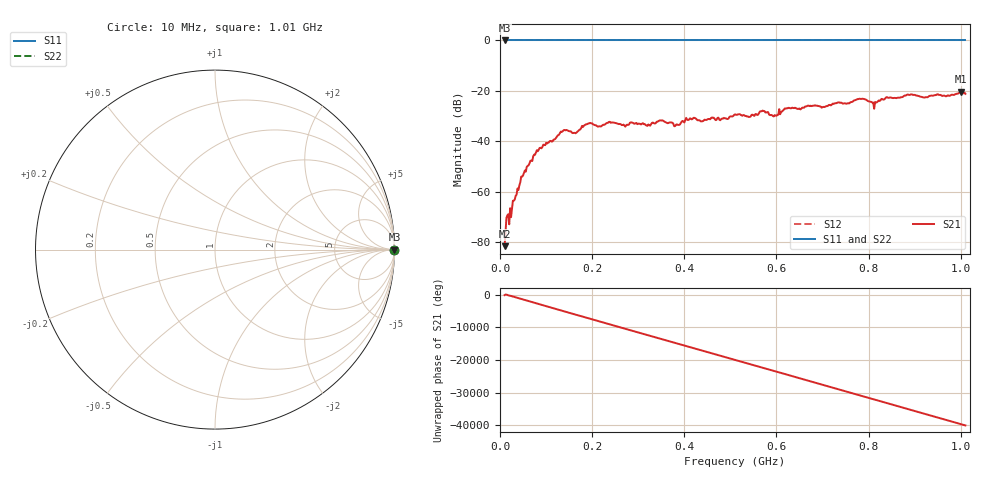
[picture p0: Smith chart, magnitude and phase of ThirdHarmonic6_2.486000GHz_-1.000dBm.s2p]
! 8/17/2025 4:40:27 AM
! C:\ANRITSUVNA\TEMP\TEMP.S2P
! CHANNEL.1
! TR.MEASUREMENT
! RAW.DATA
! RF.CORRECTION.OFF
! AVERAGING.OFF
! IF.BANDWIDTH: 5KHZ
! SWEEPTYPE:  FREQ.SWEEP(Linear)
! Reference Plane Port Info
! PORT:  PORT1  PORT2
! DISTANCE:  0  m  0  m
! TIME:  0  s  0  s
! PHASE.OFFSET:  0  deg.  0  deg.
! LOSS:  0  dB  0  dB
! REF.LOSS:  0  dB  0  dB
! REF.FREQ:  0  Hz  0  Hz
! Power Info
! POWER:  -20  dBm  -20  dBm
! EFF.POWER:  -20  dBm  -20  dBm
! SOURCE.ATTEN:  0  dB  0  dB
! TEST.ATTEN:  0  dB  0  dB
# GHZ S RI R 50.0
! FREQ.GHZ  S11RE  S11IM  S21RE  S21IM  S12RE  S12IM  S22RE  S22IM
!; PortSelection: Port_12
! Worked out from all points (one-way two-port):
!   501 points, 10 MHz to 1.01 GHz, reference 50 ohm
!   highest |S21| = -20.39 dB at 1 GHz (marker M1); lowest = -81.7 dB at 10 MHz (marker M2)
!   lowest |S11| = 0.0 dB at 10 MHz (marker M3)
!   |S11| at or under -10 dB: nowhere
!   |S22| runs from 0.0 to 0.0 dB; largest |S21 - S12| = 1.1
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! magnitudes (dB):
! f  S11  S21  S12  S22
! 10 MHz  0.0  -81.7  0.0  0.0
! 18 MHz  0.0  -69.0  0.0  0.0
! 22 MHz  0.0  -66.6  0.0  0.0
! 48 MHz  0.0  -54.1  0.0  0.0
! 76 MHz  0.0  -45.4  0.0  0.0
! 136 MHz  0.0  -36.1  0.0  0.0
! 162 MHz  0.0  -36.7  0.0  0.0
! 178 MHz  0.0  -34.0  0.0  0.0
! 344 MHz  0.0  -32.0  0.0  0.0
! 382 MHz  0.0  -33.5  0.0  0.0
! 408 MHz  0.0  -31.6  0.0  0.0
! 510 MHz  0.0  -29.4  0.0  0.0
! 540 MHz  0.0  -30.4  0.0  0.0
! 570 MHz  0.0  -27.9  0.0  0.0
! 596 MHz  0.0  -29.6  0.0  0.0
! 622 MHz  0.0  -26.9  0.0  0.0
! 678 MHz  0.0  -26.0  0.0  0.0
! 784 MHz  0.0  -23.2  0.0  0.0
! 814 MHz  0.0  -24.4  0.0  0.0
! 844 MHz  0.0  -22.8  0.0  0.0
! 1 GHz  0.0  -20.4  0.0  0.0
! 1.01 GHz  0.0  -21.2  0.0  0.0
